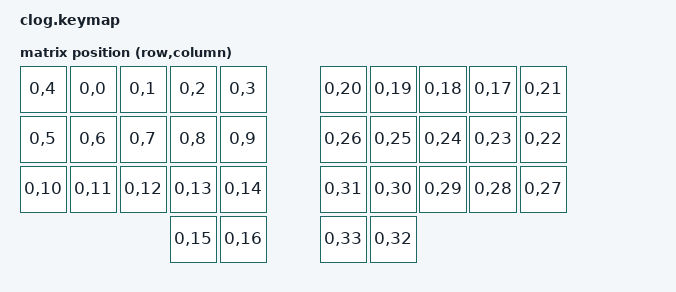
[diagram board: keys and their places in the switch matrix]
#include "34keys.keymap"
#include <dt-bindings/zmk/matrix_transform.h>

/ {
    chosen {
        zmk,kscan = &kscan0;
        zmk,matrix_transform = &default_transform;
    };

    default_transform: keymap_transform_0 {
        compatible = "zmk,matrix-transform";
        columns = <34>;
        rows = <1>;
        map = <
            RC(0,4)  RC(0,0)  RC(0,1)  RC(0,2)  RC(0,3)     RC(0,20) RC(0,19) RC(0,18) RC(0,17) RC(0,21)
            RC(0,5)  RC(0,6)  RC(0,7)  RC(0,8)  RC(0,9)     RC(0,26) RC(0,25) RC(0,24) RC(0,23) RC(0,22)
            RC(0,10) RC(0,11) RC(0,12) RC(0,13) RC(0,14)    RC(0,31) RC(0,30) RC(0,29) RC(0,28) RC(0,27)
                                       RC(0,15) RC(0,16)    RC(0,33) RC(0,32)
        >;
    };
};
